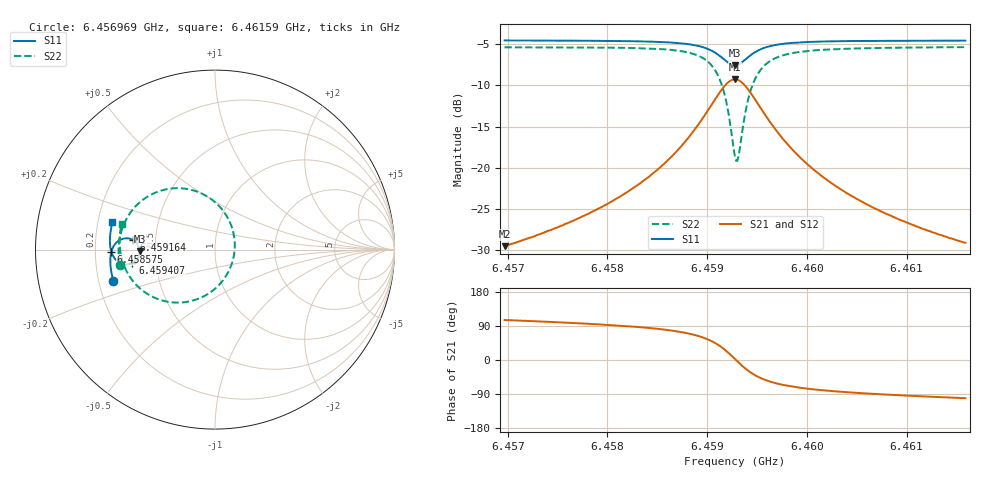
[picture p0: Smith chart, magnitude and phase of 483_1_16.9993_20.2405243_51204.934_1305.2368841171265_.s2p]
#  HZ  S  RI  R  50.00
! Rohde & Schwarz Vector Network Analyzer
! Rohde-Schwarz,ZNB20-2Port,1311601062101988,3.16
! Created: UTC 3/20/2024, 11:13:45 PM
! freq[Hz]  re:S11  im:S11  re:S21  im:S21  re:S12  im:S12  re:S22  im:S22
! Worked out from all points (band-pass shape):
!   401 points, 6.456969 GHz to 6.46159 GHz, reference 50 ohm
!   highest |S21| = -9.27 dB at 6.459279 GHz (marker M1); lowest = -29.5 dB at 6.456969 GHz (marker M2)
!   |S21| within 3 dB of the highest: 6.459049 GHz to 6.459511 GHz (462.2 kHz wide, 0.00716 % of centre)
!   lowest |S11| = -7.6 dB at 6.459279 GHz (marker M3), VSWR 2.44, Z = 20.5 - j0.496 ohm
!   |S11| at or under -10 dB: nowhere
!   |S22| runs from -19.2 to -5.4 dB; largest |S21 - S12| = 0.014
!   S11 on the Smith chart (normalised r, x): 6.456969 GHz: 0.26, -0.14; 6.458575 GHz: 0.27, -0.01; 6.459164 GHz: 0.37, +0.05; 6.459407 GHz: 0.37, -0.07; 6.46159 GHz: 0.26, +0.12
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6.4569687e9  -0.5665 -0.1728  -0.00899 0.0322  -0.00724 0.0323  -0.5315 -0.0854
6.4577428e9  -0.5807 -0.1052  -0.0057 0.0502  -0.00311 0.0495  -0.5372 0.00459
6.4581356e9  -0.5835 -0.0661  -0.000458 0.0674  0.0027 0.0662  -0.5305 0.0657
6.4585169e9  -0.5799 -0.0212  0.014 0.0983  0.018 0.0955  -0.5042 0.1497
6.4585747e9  -0.578 -0.0132  0.0183 0.1051  0.0224 0.102  -0.4959 0.1661
6.4587826e9  -0.5651 0.0188  0.0456 0.1373  0.0498 0.1326  -0.4447 0.2389
6.4589328e9  -0.5427 0.0451  0.0907 0.1678  0.0939 0.1612  -0.3618 0.3032
6.4590715e9  -0.499 0.0628  0.1775 0.1843  0.1784 0.1769  -0.2031 0.3421
6.4591639e9  -0.4546 0.0526  0.267 0.1534  0.2673 0.1475  -0.0371 0.2923
6.4592101e9  -0.4336 0.0338  0.3105 0.1107  0.3118 0.1055  0.0455 0.2163
6.4592794e9  -0.4188 -0.00999  0.3438 0.0142  0.3474 0.00736  0.1103 0.0372
6.459291e9  -0.4194 -0.018  0.3437 -0.0034  0.3474 -0.011  0.1101 0.00376
6.4593141e9  -0.4228 -0.0336  0.3381 -0.0379  0.3418 -0.0471  0.099 -0.0618
6.4593603e9  -0.4384 -0.0595  0.3097 -0.0976  0.3119 -0.1095  0.0418 -0.1747
6.4594065e9  -0.4603 -0.0756  0.2677 -0.1385  0.2669 -0.1519  -0.0428 -0.2493
6.459499e9  -0.5034 -0.0824  0.1833 -0.1695  0.1772 -0.1812  -0.211 -0.2954
6.4596491e9  -0.547 -0.0618  0.0959 -0.1559  0.0873 -0.162  -0.3781 -0.2462
6.4598109e9  -0.5684 -0.0343  0.0513 -0.1281  0.0436 -0.1308  -0.4582 -0.1743
6.4600535e9  -0.5811 0.00145  0.0222 -0.0967  0.0164 -0.0974  -0.506 -0.0921
6.4604233e9  -0.5856 0.0449  0.00559 -0.0686  0.00161 -0.0682  -0.528 -0.00879
6.4608276e9  -0.5836 0.0853  -0.0014 -0.0516  -0.00431 -0.0508  -0.5316 0.0549
6.4615902e9  -0.5711 0.1528  -0.00656 -0.0345  -0.00826 -0.0334  -0.52 0.1447
